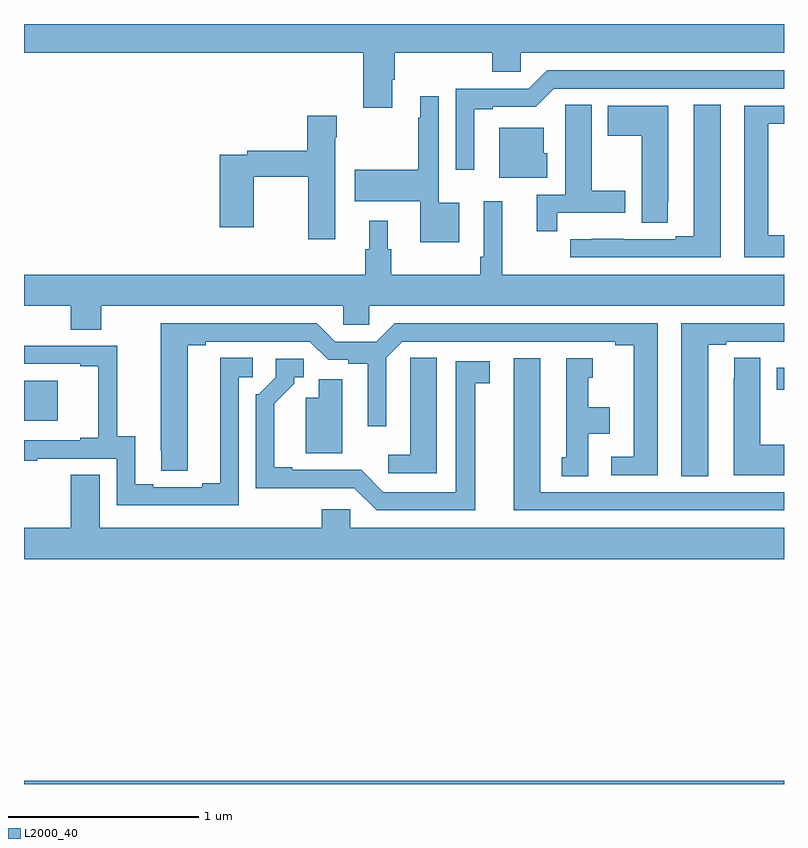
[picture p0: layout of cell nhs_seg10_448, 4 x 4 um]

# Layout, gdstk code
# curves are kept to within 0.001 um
import gdstk
lib = gdstk.Library(unit=1e-6, precision=1e-09)
def R(c, l, rs):  # rectangles x0, y0, x1, y1
    for r in rs: c.add(gdstk.rectangle(r[:2], r[2:], *l))
def P(c, l, *ps):  # polygons
    for p in ps: c.add(gdstk.Polygon(p, *l))
L2000_40 = (2000, 40)

nhs_seg10_448 = lib.new_cell('nhs_seg10_448')
R(nhs_seg10_448, L2000_40, [(133,1264.5,137,1264.516), (133,1266.413,133.177,1266.622), (136.961,1266.574,137,1266.69)])
P(nhs_seg10_448, L2000_40, [(134.938,1268.206),(134.951,1268.206),(134.951,1268.348),(135.464,1268.348),(135.464,1268.25),(135.615,1268.25),(135.615,1268.348),(137,1268.348),(137,1268.5),(133,1268.5),(133,1268.348),(134.786,1268.348),(134.786,1268.058),(134.938,1268.058)],
  [(135.37,1268.052),(135.466,1268.052),(135.466,1268.064),(135.693,1268.064),(135.789,1268.16),(137,1268.16),(137,1268.256),(135.753,1268.256),(135.657,1268.16),(135.273,1268.16),(135.273,1267.734),(135.37,1267.734)],
  [(135.292,1267.558),(135.183,1267.558),(135.183,1268.119),(135.086,1268.119),(135.086,1268.006),(135.075,1268.006),(135.075,1267.734),(134.742,1267.734),(134.742,1267.568),(135.086,1267.568),(135.086,1267.352),(135.292,1267.352)],
  [(135.806,1267.506),(136.165,1267.506),(136.165,1267.623),(135.988,1267.623),(135.988,1268.075),(135.849,1268.075),(135.849,1267.964),(135.848,1267.964),(135.848,1267.602),(135.698,1267.602),(135.698,1267.41),(135.806,1267.41)],
  [(136.666,1268.075),(136.526,1268.075),(136.526,1267.383),(136.43,1267.383),(136.43,1267.368),(136.154,1267.368),(136.154,1267.369),(135.988,1267.369),(135.988,1267.368),(135.876,1267.368),(135.876,1267.272),(136.666,1267.272)],
  [(136.389,1267.561),(136.39,1267.561),(136.39,1268.071),(136.073,1268.071),(136.073,1267.912),(136.25,1267.912),(136.25,1267.453),(136.389,1267.453)],
  [(137,1267.388),(136.918,1267.388),(136.918,1267.974),(137,1267.974),(137,1268.07),(136.79,1268.07),(136.79,1267.272),(137,1267.272)],
  [(134.638,1267.904),(134.646,1267.904),(134.646,1268.017),(134.492,1268.017),(134.492,1267.832),(134.176,1267.832),(134.176,1267.812),(134.03,1267.812),(134.03,1267.431),(134.208,1267.431),(134.208,1267.696),(134.497,1267.696),(134.497,1267.368),(134.638,1267.368)],
  [(135.754,1267.821),(135.736,1267.821),(135.736,1267.954),(135.5,1267.954),(135.5,1267.691),(135.754,1267.691)],
  [(133.407,1267.016),(134.679,1267.016),(134.679,1266.918),(134.817,1266.918),(134.817,1267.016),(137,1267.016),(137,1267.18),(135.518,1267.18),(135.518,1267.567),(135.42,1267.567),(135.42,1267.276),(135.4,1267.276),(135.4,1267.18),(134.933,1267.18),(134.933,1267.314),(134.914,1267.314),(134.914,1267.465),(134.816,1267.465),(134.816,1267.314),(134.797,1267.314),(134.797,1267.18),(133,1267.18),(133,1267.016),(133.247,1267.016),(133.247,1266.892),(133.407,1266.892)],
  [(136.6,1266.813),(136.696,1266.813),(136.696,1266.828),(136.972,1266.828),(136.972,1266.827),(137,1266.827),(137,1266.924),(136.46,1266.924),(136.46,1266.121),(136.6,1266.121)],
  [(136.336,1266.924),(134.951,1266.924),(134.855,1266.828),(134.637,1266.828),(134.541,1266.924),(133.721,1266.924),(133.722,1266.148),(133.861,1266.148),(133.861,1266.808),(133.957,1266.808),(133.957,1266.828),(134.505,1266.828),(134.601,1266.732),(134.706,1266.732),(134.706,1266.712),(134.81,1266.712),(134.81,1266.384),(134.907,1266.384),(134.907,1266.744),(134.991,1266.828),(136.112,1266.828),(136.112,1266.808),(136.208,1266.808),(136.208,1266.222),(136.092,1266.222),(136.092,1266.126),(136.336,1266.126)],
  [(134.13,1266.642),(134.203,1266.642),(134.203,1266.743),(134.033,1266.743),(134.033,1266.083),(133.937,1266.083),(133.937,1266.063),(133.681,1266.063),(133.681,1266.078),(133.585,1266.078),(133.585,1266.329),(133.491,1266.329),(133.491,1266.807),(133,1266.807),(133,1266.711),(133.295,1266.711),(133.295,1266.699),(133.391,1266.699),(133.391,1266.322),(133.295,1266.322),(133.295,1266.309),(133,1266.309),(133,1266.201),(133.069,1266.201),(133.069,1266.213),(133.488,1266.213),(133.488,1265.967),(134.13,1265.967)],
  [(137,1266.285),(136.876,1266.285),(136.876,1266.743),(136.737,1266.743),(136.737,1266.635),(136.736,1266.635),(136.736,1266.125),(137,1266.125)],
  [(135.172,1266.743),(135.033,1266.743),(135.033,1266.635),(135.032,1266.635),(135.032,1266.232),(134.916,1266.232),(134.916,1266.135),(135.172,1266.135)],
  [(135.97,1266.344),(136.084,1266.344),(136.084,1266.484),(135.97,1266.484),(135.97,1266.639),(135.994,1266.639),(135.994,1266.742),(135.854,1266.742),(135.854,1266.219),(135.83,1266.219),(135.83,1266.121),(135.97,1266.121)],
  [(137,1266.036),(135.718,1266.036),(135.718,1266.742),(135.578,1266.742),(135.578,1265.94),(137,1265.94)],
  [(135.376,1266.61),(135.451,1266.61),(135.451,1266.726),(135.272,1266.726),(135.272,1266.036),(134.892,1266.036),(134.775,1266.153),(134.413,1266.153),(134.413,1266.166),(134.317,1266.166),(134.317,1266.502),(134.422,1266.607),(134.422,1266.642),(134.472,1266.642),(134.472,1266.738),(134.325,1266.738),(134.325,1266.642),(134.235,1266.552),(134.22,1266.552),(134.22,1266.056),(134.739,1266.057),(134.856,1265.94),(135.376,1265.94)],
  [(134.674,1266.63),(134.552,1266.63),(134.552,1266.532),(134.483,1266.532),(134.483,1266.242),(134.674,1266.242)],
  [(137,1265.848),(134.718,1265.848),(134.718,1265.946),(134.567,1265.946),(134.567,1265.848),(133.399,1265.848),(133.399,1266.128),(133.247,1266.128),(133.247,1265.848),(133,1265.848),(133,1265.684),(137,1265.684)])

lib.write_gds('nhs_seg10_448.gds')
